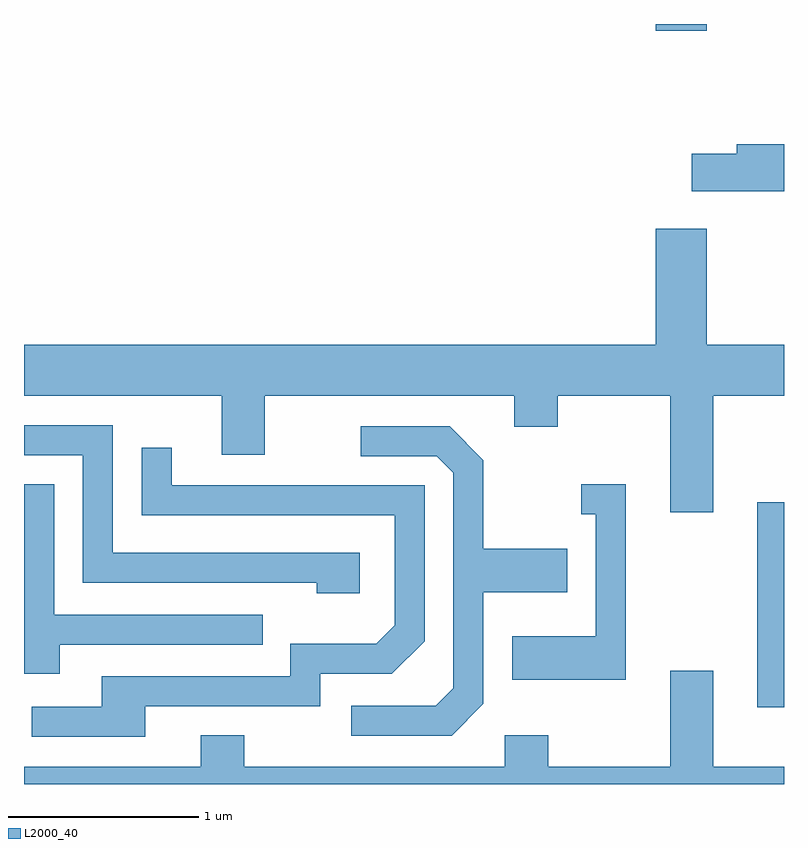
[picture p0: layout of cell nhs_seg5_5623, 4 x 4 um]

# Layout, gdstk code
import gdstk
lib = gdstk.Library(unit=1e-6, precision=1e-09)
def R(c, l, rs):  # rectangles x0, y0, x1, y1
    for r in rs: c.add(gdstk.rectangle(r[:2], r[2:], *l))
def P(c, l, *ps):  # polygons
    for p in ps: c.add(gdstk.Polygon(p, *l))
L2000_40 = (2000, 40)

nhs_seg5_5623 = lib.new_cell('nhs_seg5_5623')
R(nhs_seg5_5623, L2000_40, [(355.471,1468.476,355.611,1469.554), (354.936,1472.036,355.204,1472.072)])
P(nhs_seg5_5623, L2000_40, [(355.611,1471.439),(355.361,1471.439),(355.361,1471.389),(355.126,1471.389),(355.126,1471.191),(355.611,1471.191)],
  [(355.239,1470.116),(355.611,1470.116),(355.611,1470.384),(355.204,1470.384),(355.204,1470.994),(354.936,1470.994),(354.936,1470.384),(351.611,1470.384),(351.611,1470.116),(352.651,1470.116),(352.651,1469.806),(352.879,1469.806),(352.879,1470.116),(354.191,1470.116),(354.191,1469.951),(354.419,1469.951),(354.419,1470.116),(355.011,1470.116),(355.011,1469.501),(355.239,1469.501)],
  [(353.379,1469.289),(352.079,1469.289),(352.079,1469.959),(351.611,1469.959),(351.611,1469.801),(351.921,1469.801),(351.921,1469.131),(353.151,1469.131),(353.151,1469.076),(353.379,1469.076)],
  [(354.029,1468.494),(354.029,1469.081),(354.469,1469.081),(354.469,1469.309),(354.029,1469.309),(354.029,1469.777),(353.852,1469.954),(353.383,1469.954),(353.383,1469.796),(353.784,1469.796),(353.871,1469.709),(353.871,1468.577),(353.779,1468.484),(353.333,1468.484),(353.333,1468.326),(353.862,1468.326)],
  [(352.249,1468.481),(353.169,1468.481),(353.169,1468.651),(353.547,1468.651),(353.719,1468.824),(353.719,1469.644),(352.389,1469.644),(352.389,1469.843),(352.231,1469.843),(352.231,1469.486),(353.561,1469.486),(353.561,1468.907),(353.464,1468.809),(353.011,1468.809),(353.011,1468.639),(352.021,1468.639),(352.021,1468.479),(351.653,1468.479),(351.653,1468.321),(352.249,1468.321)],
  [(354.779,1469.649),(354.543,1469.649),(354.543,1469.491),(354.621,1469.491),(354.621,1468.849),(354.181,1468.849),(354.181,1468.621),(354.779,1468.621)],
  [(351.799,1468.806),(352.868,1468.806),(352.868,1468.964),(351.769,1468.964),(351.769,1469.649),(351.611,1469.649),(351.611,1468.651),(351.799,1468.651)],
  [(355.611,1468.164),(355.239,1468.164),(355.239,1468.669),(355.011,1468.669),(355.011,1468.164),(354.369,1468.164),(354.369,1468.329),(354.141,1468.329),(354.141,1468.164),(352.769,1468.164),(352.769,1468.329),(352.541,1468.329),(352.541,1468.164),(351.611,1468.164),(351.611,1468.072),(355.611,1468.072)])

lib.write_gds('nhs_seg5_5623.gds')
